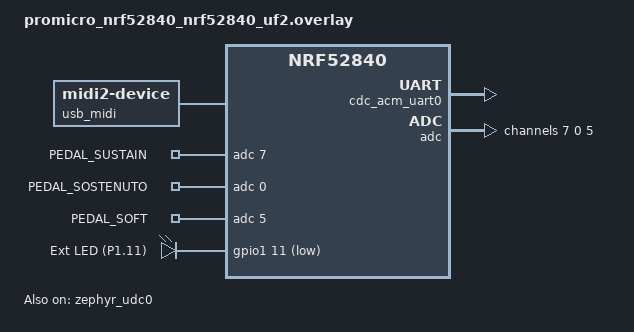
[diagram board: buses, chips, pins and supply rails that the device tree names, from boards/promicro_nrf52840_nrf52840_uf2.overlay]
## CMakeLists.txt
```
list(APPEND ZEPHYR_EXTRA_MODULES
  ${CMAKE_CURRENT_SOURCE_DIR}/modules/lib/zephyr-ble-midi
)

cmake_minimum_required(VERSION 3.20.0)
find_package(Zephyr REQUIRED HINTS $ENV{ZEPHYR_BASE})

project(midal)

# Allow including headers relative to the src/ tree, e.g. "midi/midi_types.h"
target_include_directories(app PRIVATE
  src
)

target_sources(app PRIVATE
  src/main.c
  src/usbd/usbd.c
)

if(CONFIG_MIDAL_ACQ_SELFTEST)

  target_sources(app PRIVATE
    src/diag/saadc_selftest.c
  )

else()

  target_sources(app PRIVATE
    src/diag/heartbeat.c
    src/diag/stats.c
    src/diag/stats_listener.c
    src/usbd/midi.c
    src/zbus_channels.c
    src/pedal/pedal.c
    src/pedal/pedal_reader.c
    src/pedal/pedal_sampler.c
    src/pedal/pedal_filter.c
    src/midi/midi_codec.c
    src/transports/transport_usb_midi.c
    src/transports/transport_ble_midi.c
    # src/transports/transport_uart_midi.c
  )

endif()
```

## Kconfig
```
# SPDX-License-Identifier: Apache-2.0


menu "MIDAL MIDI Interface Core"
rsource "Kconfig.midal"
endmenu

menu "MIDAL MIDI Interface USB Device"
rsource "Kconfig.midal_usbd"
endmenu

rsource "modules/lib/zephyr-ble-midi/ble_midi/Kconfig"

source "Kconfig.zephyr"
```

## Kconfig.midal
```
menu "MIDAL MIDI Interface Core Options"

config MIDAL_INVERT_POLARITY
    bool "Invert pedal polarity (after calibration, before EMA)"
    default y
    help
      When enabled, normalized pedal value is inverted (v = 1.0 - v)
      after dynamic calibration and endpoint hold, and before EMA.
      Use this if the electrical polarity is reversed relative to the
      expected direction (e.g., higher voltage corresponds to pedal down).

config MIDAL_POLL_HZ
    int "Pedal poll frequency (Hz)"
    default 1000
    range 250 4000
    help
      Sampling rate for pedal ADC scanning and filter updates.
      Higher values reduce latency but increase CPU load.
      Typical: 1000 Hz. Advanced: up to 2000–4000 Hz.

config MIDAL_USE_14BIT_CC
    bool "Use 14-bit CC (MSB+LSB)"
    default y
    help
      When enabled, send high‑resolution CC as MSB+LSB pair (two MIDI 1.0 messages).
      This doubles traffic; prefer off when minimizing latency.

config MIDAL_FILTER_ALPHA_AUTO
    bool "Compute EMA alpha from fs and τ"
    default y
    help
      When enabled, the EMA coefficient α is computed from the poll rate (fs)
      and the desired time constant τ (MIDAL_FILTER_TAU_MS):
        α = 1 − exp(−Ts/τ), Ts = 1/fs.
      Disable to set α manually via MIDAL_FILTER_ALPHA_MILLIPCT.

config MIDAL_FILTER_TAU_MS
    int "EMA time constant τ (ms)"
    default 5
    range 1 100
    depends on MIDAL_FILTER_ALPHA_AUTO
    help
      Effective smoothing time for the one‑pole EMA. Smaller values reduce
      latency at the cost of noise. 3–5 ms is a good starting point at 1 kHz.

config MIDAL_FILTER_ALPHA_MILLIPCT
    int "EMA alpha (millipercent, 0..100000)"
    default 200
    range 0 100000
    depends on !MIDAL_FILTER_ALPHA_AUTO
    help
      Manual α when auto‑compute is disabled. Example: 20000 → α=0.20.

config MIDAL_FILTER_HYST
    int "Hysteresis in CC steps"
    default 4
    range 0 10
    help
      Deadband after quantization to avoid chattering. For 7‑bit CC use 1–2.
      For 14‑bit CC consider 4–8 LSB.

config MIDAL_FILTER_ASYM
    bool "Asymmetric EMA (fast attack, slower release)"
    default y
    help
      Uses different α for rising/falling edges to minimize perceived latency:
      attack uses alpha_up, release uses alpha_down.

config MIDAL_FILTER_ALPHA_UP_MIN_MILLIPCT
    int "Attack alpha minimum (millipercent, 0..100000)"
    default 40000
    range 0 100000
    depends on MIDAL_FILTER_ASYM
    help
      Lower bound for α during attack (v increasing). 40000 → α_up ≥ 0.40.

config MIDAL_FILTER_ALPHA_DOWN_MAX_MILLIPCT
    int "Release alpha maximum (millipercent, 0..100000)"
    default 20000
    range 0 100000
    depends on MIDAL_FILTER_ASYM
    help
      Upper bound for α during release (v decreasing). 20000 → α_down ≤ 0.20.

config MIDAL_CAL_MARGIN_LSB
    int "Calibration noise margin (LSB)"
    default 4
    range 0 64
    help
      Minimum delta in raw ADC counts required to update the learned
      min/max during dynamic calibration. Prevents min/max from drifting
      due to 1–2 LSB noise. Set to 0 to disable margin.

config MIDAL_CAL_MIN_SPAN_LSB
    int "Minimum temporary span (LSB)"
    default 32
    range 1 2048
    help
      Safeguard span used while calibration is still learning the true
      min/max. If the current (max-min) is smaller than this value, the
      denominator is clamped up to avoid huge gain and division-by-zero.

config MIDAL_PEDAL_LOG
    bool "Log pedal values"
    default y
    help
      When enabled, the firmware logs the pedal values to the console.

config MIDAL_PEDAL_LOG_RATE_MS
    int "Pedal log rate (ms)"
    default 250
    range 1 1000
    help
      Rate at which the firmware logs the pedal values to the console.

config MIDAL_ACQ_SELFTEST
    bool "Run SAADC acquisition-time self-test at boot"
    default n
    help
      When enabled, at boot the firmware tries acq = {10,20,40,80} us,
      measures mean and peak-to-peak on each pedal channel, and runs an A->B->A
      cross-talk check. Results are printed to logs. Production should disable.
      
endmenu
```

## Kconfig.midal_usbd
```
menu "MIDAL MIDI interface USB options"
	depends on USB_DEVICE_STACK_NEXT

config MIDAL_USBD_MANUFACTURER
	string "USB device manufacturer string"
	default "MiddleagedPianoStudent"
	help
	  USB device manufacturer string.

config MIDAL_USBD_PRODUCT
	string "USB device product string"
	default "MIDAL Pedal MIDI Interface"
	help
	  USB device product string.

config MIDAL_USBD_PID
	hex "USB device Product ID"
	default 0x0001
	help
	  USB device Product ID.

config MIDAL_USBD_SELF_POWERED
	bool "USB device Self-powered attribute"
	default n
	help
	  Set the Self-powered attribute in the configuration.

config MIDAL_USBD_REMOTE_WAKEUP
	bool "USB device Remote Wakeup attribute"
	help
	  Set the Remote Wakeup attribute in the configuration.

config MIDAL_USBD_MAX_POWER
	int "USB device bMaxPower value"
	default 125
	range 0 250
	help
	  bMaxPower value in the configuration in 2 mA units.

config MIDAL_USBD_20_EXTENSION_DESC
	bool "Use default USB 2.0 Extension Descriptor"
	depends on USBD_BOS_SUPPORT
	help
	  Set bcdUSB value to 0201 and use default USB 2.0 Extension Descriptor.

config MIDAL_USB_MIDI2_NATIVE
	bool "Use native MIDI 2.0 Channel Voice for CC on USB"
	default n
	help
	  When enabled, CC events are sent as MIDI 2.0 Channel Voice UMP messages
	  with 16-bit values over USB (device_next). When disabled, CC are sent as
	  MIDI 1.0-compatible messages (7-bit, or MSB+LSB for values >127 when
	  applicable). Enable only if your host/DAW fully supports MIDI 2.0.

endmenu
```

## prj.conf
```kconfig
# Disable old USB stack
CONFIG_USB_DEVICE_STACK=n
# New USB stack (device_next)
CONFIG_USB_DEVICE_STACK_NEXT=y
# CONFIG_HWINFO=n

# USB MIDI
CONFIG_USBD_MIDI2_CLASS=y

# Console/Logs → in CDC
CONFIG_SERIAL=y
CONFIG_USBD_CDC_ACM_CLASS=y
#
CONFIG_CONSOLE=y
CONFIG_UART_CONSOLE=y
CONFIG_LOG_BACKEND_UART=y

CONFIG_LOG=y
# 0=OFF, 1=ERR, 2=WRN, 3=INF, 4=DBG
CONFIG_LOG_DEFAULT_LEVEL=3
# CONFIG_LOG_RUNTIME_FILTERING=y

CONFIG_USBD_LOG_LEVEL_WRN=y
CONFIG_UDC_DRIVER_LOG_LEVEL_WRN=y
CONFIG_USBD_CDC_ACM_LOG_LEVEL_WRN=y
CONFIG_USBD_MIDI2_LOG_LEVEL_WRN=y

# Log message configuration: defferred output
CONFIG_LOG_MODE_DEFERRED=y
CONFIG_LOG_BUFFER_SIZE=10240
# Allow to drop old messages if the buffer is full
CONFIG_LOG_MODE_OVERFLOW=y
CONFIG_LOG_PROCESS_THREAD_STACK_SIZE=2048

CONFIG_USBD_THREAD_STACK_SIZE=1536
# CONFIG_USBD_DEVICE_STACK_SIZE=1536

CONFIG_UDC_NRF_THREAD_STACK_SIZE=1024

CONFIG_BT=y
CONFIG_BT_PERIPHERAL=y
CONFIG_BT_DEVICE_NAME="MIDAL MIDI Interface (BLE)"
# CONFIG_BT_MAX_CONN=1
# CONFIG_BT_CONN_TX_MAX=6
# CONFIG_BT_BUF_ACL_TX_COUNT=6
# CONFIG_BT_L2CAP_TX_BUF_COUNT=6
# CONFIG_BT_SMP=y
# CONFIG_BT_BONDABLE=y
# BLE MIDI module
CONFIG_BLE_MIDI=y
CONFIG_BLE_MIDI_TX_FIFO_SIZE=1024
CONFIG_BLE_MIDI_TX_MODE_SINGLE_MSG=y
CONFIG_BLE_MIDI_SEND_RUNNING_STATUS=y

# Request a large MTU to better handle
# lots of MIDI messages being sent at once.
# Also increases streaming sysex throughput.
# https://docs.zephyrproject.org/latest/samples/bluetooth/mtu_update/README.html
CONFIG_BT_L2CAP_TX_MTU=247
CONFIG_BT_BUF_ACL_TX_SIZE=251
CONFIG_BT_BUF_ACL_RX_SIZE=251
CONFIG_BLE_MIDI_TX_PACKET_MAX_SIZE=244

CONFIG_RING_BUFFER=y

# Zbus (message bus for inter-module communication)
CONFIG_ZBUS=y
CONFIG_ZBUS_CHANNEL_NAME=y
CONFIG_ZBUS_OBSERVER_NAME=y
CONFIG_ZBUS_MSG_SUBSCRIBER=y
CONFIG_ZBUS_RUNTIME_OBSERVERS=y
CONFIG_ZBUS_PRIORITY_BOOST=y
CONFIG_ZBUS_LOG_LEVEL_INF=y

# Timers/Queues
CONFIG_SYSTEM_WORKQUEUE_STACK_SIZE=4096

# ADC/SAADC for pedal sampling
CONFIG_ADC=y
CONFIG_NRFX_SAADC=y
CONFIG_ADC_ASYNC=y

# # UART async (future DIN MIDI)
# CONFIG_UART_ASYNC_API=y

# Enable combined MIDI1 (scaled 7-bit) + MIDI2 (16-bit) output
CONFIG_MIDAL_USE_14BIT_CC=y
CONFIG_MIDAL_USB_MIDI2_NATIVE=y
CONFIG_MIDAL_INVERT_POLARITY=y
CONFIG_MIDAL_POLL_HZ=1000

CONFIG_MIDAL_ACQ_SELFTEST=n
CONFIG_MIDAL_PEDAL_LOG=y
CONFIG_MIDAL_PEDAL_LOG_RATE_MS=500

# DEBUG
# CONFIG_ASSERT=y
# CONFIG_STACK_SENTINEL=y
# CONFIG_INIT_STACKS=y
# CONFIG_THREAD_NAME=y
# CONFIG_THREAD_ANALYZER=y
# CONFIG_THREAD_ANALYZER_AUTO=y
# # reboot on freeze  
CONFIG_WATCHDOG=y
CONFIG_WDT_NRFX=y
```

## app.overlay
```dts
/ {
	chosen {
		zephyr,console = &cdc_acm_uart0;
	};

	/* MIDI: a root level dedicated node */
	usb_midi: usb_midi {
		compatible = "zephyr,midi2-device";
		status = "okay";
		#address-cells = <1>;
		#size-cells = <1>;
	
		/* GTB: groups of UMP. Example: 1 group, bi-dir */
		midi_in_out@0 {
				reg = <0 1>;                     /* start group=0, span=1 */
				protocol = "midi1-up-to-128b";
				status = "okay";
		};
	};

};

&zephyr_udc0 {
	status = "okay";

	cdc_acm_uart0: cdc_acm_uart0 {
		compatible = "zephyr,cdc-acm-uart";
		label = "Midal USB CDC-ACM";
		status = "okay";
	};	
};
```

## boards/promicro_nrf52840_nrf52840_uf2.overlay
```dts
/ {
	chosen {
		zephyr,console = &cdc_acm_uart0;
	};

	/* MIDI: a root level dedicated node */
	usb_midi: usb_midi {
		compatible = "zephyr,midi2-device";
		status = "okay";
		#address-cells = <1>;
		#size-cells = <1>;

		/* GTB: groups of UMP. Example: 1 group, bi-dir */
		midi_in_out@0 {
				reg = <0 1>;                     /* start group=0, span=1 */
				protocol = "midi1-up-to-128b";
				status = "okay";
		};
	};

	/* Pedal ADC channels for devicetree-based configuration */
	zephyr,user {
    // Keep channels and their names in sync
		io-channels = <&adc 7>, <&adc 0>, <&adc 5>;
		io-channel-names = "PEDAL_SUSTAIN", "PEDAL_SOSTENUTO", "PEDAL_SOFT";
	};
};

&zephyr_udc0 {
	status = "okay";

	cdc_acm_uart0: cdc_acm_uart0 {
		compatible = "zephyr,cdc-acm-uart";
		label = "Midal USB CDC-ACM";
		status = "okay";
	};	
};

&adc {
	status = "okay";
	#address-cells = <1>;
	#size-cells = <0>;

	/* DAMPER pedal - P0.31 = AIN7 */
	channel@7 {
		reg = <7>;
		zephyr,gain = "ADC_GAIN_1_6";
		zephyr,reference = "ADC_REF_INTERNAL";
		zephyr,acquisition-time = <ADC_ACQ_TIME(ADC_ACQ_TIME_MICROSECONDS, 20)>;
		zephyr,input-positive = <NRF_SAADC_AIN7>; /* P0.31 */
		zephyr,resolution = <12>;
	};

	/* SOSTENUTO pedal - P0.02 = AIN0 */
	channel@0 {
		reg = <0>;
		zephyr,gain = "ADC_GAIN_1_6";
		zephyr,reference = "ADC_REF_INTERNAL";
		zephyr,acquisition-time = <ADC_ACQ_TIME(ADC_ACQ_TIME_MICROSECONDS, 20)>;
		zephyr,input-positive = <NRF_SAADC_AIN0>; /* P0.02 */
		zephyr,resolution = <12>;
	};

	/* SOFT pedal - P0.29 = AIN5 */
	channel@5 {
		reg = <5>;
		zephyr,gain = "ADC_GAIN_1_6";
		zephyr,reference = "ADC_REF_INTERNAL";
		zephyr,acquisition-time = <ADC_ACQ_TIME(ADC_ACQ_TIME_MICROSECONDS, 20)>;
		zephyr,input-positive = <NRF_SAADC_AIN5>; /* P0.29 */
		zephyr,resolution = <12>;
	};
};

// /* DIN5 TX на uart1 (пример пинов — поправь под свою плату) */
// &uart1 {
// 	status = "okay";
// 	current-speed = <31250>;
// 	parity = "none";
// 	hw-flow-control = "none";
// 	/* Укажи pinctrl */
// 	pinctrl-0 = <&uart1_default>;
// 	pinctrl-names = "default";
// };

// &led_pwr {
// 	gpios = <&gpio1 11 GPIO_ACTIVE_LOW>;
// 	label = "Power LED (P1.11)";
// };

// &led_usb {
// 	gpios = <&gpio1 13 GPIO_ACTIVE_LOW>;
// 	label = "USB MIDI LED (P1.13)";
// };

// &led_ble {
// 	gpios = <&gpio1 15 GPIO_ACTIVE_LOW>;
// 	label = "BLE LED (P1.15)";
// };

&led0 {
	gpios = <&gpio1 11 GPIO_ACTIVE_LOW>;   /* P1.11, активный низкий */
	label = "Ext LED (P1.11)";
};
```

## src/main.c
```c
#include "diag/heartbeat.h"
#include "diag/stats.h"
#include "pedal/pedal.h"
#include "transports/transport_ble_midi.h"
#include "transports/transport_usb_midi.h"
#include "usbd/midi.h"
#include "usbd/usbd.h"

#include <zephyr/device.h>
#include <zephyr/kernel.h>
#include <zephyr/sys/util.h>
#include <zephyr/usb/class/usbd_midi2.h>

#include <zephyr/logging/log.h>
LOG_MODULE_REGISTER(main, LOG_LEVEL_INF);

#if IS_ENABLED(CONFIG_MIDAL_ACQ_SELFTEST)
#include "diag/saadc_selftest.h"
#endif

// For testing
#include <zephyr/drivers/gpio.h>
/* The devicetree node identifier for the "led0" alias. */
#define LED0_NODE DT_ALIAS(led0)
/*
 * A build error on this line means your board is unsupported.
 * See the sample documentation for information on how to fix this.
 */
static const struct gpio_dt_spec led = GPIO_DT_SPEC_GET(LED0_NODE, gpios);

int main(void) {

  int ret = 0;

  ret = usbd_enable_device();
  if (ret != 0) {
    LOG_ERR("Failed to enable USB: %d", ret);
    return 0;
  }

  LOG_INF("USB up\r\n");

#if IS_ENABLED(CONFIG_MIDAL_ACQ_SELFTEST)
  saadc_selftest_run();
#else

  ret = usbd_midi_init();

  if (ret != 0) {
    LOG_ERR("Failed to init USB MIDI: %d", ret);
    return 0;
  }

  /* Initialize stats system - listener + aggregator */
  ret = midal_stats_init();
  if (ret != 0) {
    LOG_ERR("Stats init failed: %d", ret);
    return -ENODEV;
  }

  /* Initialize USB MIDI transport - subscribes to zbus directly */
  ret = transport_usb_midi_init();
  if (ret != 0) {
    LOG_ERR("USB MIDI transport init failed: %d", ret);
    return -ENODEV;
  }

#if IS_ENABLED(CONFIG_BLE_MIDI)
  /* Initialize BLE MIDI transport - subscribes to zbus directly */
  ret = transport_ble_midi_init();
  if (ret != 0) {
    LOG_WRN("BLE MIDI transport init failed: %d", ret);
  }
#endif

  heartbeat_start();

  ret = pedal_reader_start();
  if (ret != 0) {
    LOG_ERR("Failed to initialize pedal subsystem: %d", ret);
    return ret;
  }

#endif

  if (!gpio_is_ready_dt(&led)) {
    return 0;
  }

  ret = gpio_pin_configure_dt(&led, GPIO_OUTPUT_ACTIVE);
  if (ret < 0) {
    return 0;
  }

  while (1) {
    ret = gpio_pin_toggle_dt(&led);
    if (ret < 0) {
      return 0;
    }

    k_sleep(K_MSEC(500));
  }

  return 0;
}
```

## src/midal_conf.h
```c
#pragma once

#include <zephyr/kernel.h>

#define MIDAL_NUM_PEDALS 3

#define MIDAL_CH_PEDAL_SUSTAIN 0
#define MIDAL_CH_PEDAL_SOSTENUTO 0
#define MIDAL_CH_PEDAL_SOFT 0

/* MIDI CC номера по умолчанию */
#define MIDAL_CC_SUSTAIN 64
#define MIDAL_CC_SOSTENUTO 66
#define MIDAL_CC_SOFT 67
```

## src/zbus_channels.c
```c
/**
 * @file zbus_channels.c
 * @brief Zbus channel definitions for MIDAL firmware
 */

#include "zbus_channels.h"
#include <zephyr/logging/log.h>

LOG_MODULE_REGISTER(zbus_channels, LOG_LEVEL_INF);

/**
 * @brief MIDI Event Channel Definition
 *
 * This channel carries MIDI events (CC messages, notes, etc.) from the
 * pedal sampler to the MIDI router for distribution to all outputs.
 *
 * Initial value: Zero-initialized MIDI CC event
 */
ZBUS_CHAN_DEFINE(midi_event_chan,           /* Channel name */
		 midi_event_t,              /* Message type */
		 NULL,                      /* No validator */
		 NULL,                      /* No user data */
		 ZBUS_OBSERVERS_EMPTY,      /* Observers added at runtime */
		 ZBUS_MSG_INIT(             /* Initial value */
			 .type = MIDI_EV_CC,
			 .cc = {
				 .ch = 0,
				 .cc = 0,
				 .value = 0
			 },
			 .timestamp_us = 0
		 )
);
```

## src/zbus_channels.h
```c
#pragma once

/**
 * @file zbus_channels.h
 * @brief Zbus channel definitions for MIDAL firmware
 *
 * This file defines all zbus channels used for inter-module communication
 * in the MIDAL MIDI Interface firmware.
 */

#include <zephyr/zbus/zbus.h>
#include "midi/midi_types.h"

/**
 * @brief MIDI Event Channel
 *
 * This channel carries MIDI events from sources (pedal sampler, etc.) to
 * all MIDI transport outputs (USB MIDI, BLE MIDI, DIN MIDI).
 *
 * The channel carries 14-bit native format MIDI data. Each transport
 * subscriber is responsible for converting to its required format:
 * - USB MIDI2: Uses 14-bit native (scaled to 16-bit UMP)
 * - BLE/DIN MIDI1: Converts 14-bit to 7-bit (>> 7 with rounding)
 *
 * Message Type: midi_event_t (always 14-bit: cc.value = 0..16383)
 * Publishers: Pedal Sampler
 * Subscribers: USB MIDI Transport, BLE MIDI Transport, DIN MIDI Transport
 */
ZBUS_CHAN_DECLARE(midi_event_chan);
```
